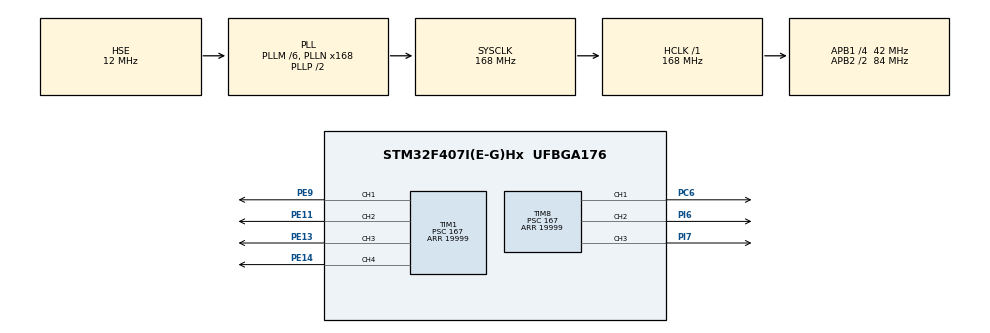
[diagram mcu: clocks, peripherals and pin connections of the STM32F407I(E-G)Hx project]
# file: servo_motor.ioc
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Mcu.Family=STM32F4
Mcu.Name=STM32F407I(E-G)Hx
Mcu.Package=UFBGA176
NVIC.PriorityGroup=NVIC_PRIORITYGROUP_4
PA13.Mode=Serial_Wire
PA13.Signal=SYS_JTMS-SWDIO
PA14.Mode=Serial_Wire
PA14.Signal=SYS_JTCK-SWCLK
PC6.GPIO_PuPd=GPIO_PULLUP
PC6.GPIO_Speed=GPIO_SPEED_FREQ_HIGH
PC6.Signal=S_TIM8_CH1
PE11.GPIO_PuPd=GPIO_PULLUP
PE11.GPIO_Speed=GPIO_SPEED_FREQ_HIGH
PE11.Signal=S_TIM1_CH2
PE13.GPIO_PuPd=GPIO_PULLUP
PE13.GPIO_Speed=GPIO_SPEED_FREQ_HIGH
PE13.Signal=S_TIM1_CH3
PE14.GPIO_PuPd=GPIO_PULLUP
PE14.GPIO_Speed=GPIO_SPEED_FREQ_HIGH
PE14.Signal=S_TIM1_CH4
PE9.GPIO_PuPd=GPIO_PULLUP
PE9.GPIO_Speed=GPIO_SPEED_FREQ_HIGH
PE9.Signal=S_TIM1_CH1
PH0-OSC_IN.Mode=HSE-External-Oscillator
PH0-OSC_IN.Signal=RCC_OSC_IN
PH1-OSC_OUT.Mode=HSE-External-Oscillator
PH1-OSC_OUT.Signal=RCC_OSC_OUT
PI6.GPIO_PuPd=GPIO_PULLUP
PI6.GPIO_Speed=GPIO_SPEED_FREQ_HIGH
PI6.Signal=S_TIM8_CH2
PI7.GPIO_PuPd=GPIO_PULLUP
PI7.GPIO_Speed=GPIO_SPEED_FREQ_HIGH
PI7.Signal=S_TIM8_CH3
ProjectManager.HeapSize=0x2000
ProjectManager.StackSize=0x2000
ProjectManager.TargetToolchain=MDK-ARM V5
RCC.48MHZClocksFreq_Value=48000000
RCC.AHBFreq_Value=168000000
RCC.APB1CLKDivider=RCC_HCLK_DIV4
RCC.APB1Freq_Value=42000000
RCC.APB1TimFreq_Value=84000000
RCC.APB2CLKDivider=RCC_HCLK_DIV2
RCC.APB2Freq_Value=84000000
RCC.APB2TimFreq_Value=168000000
RCC.CortexFreq_Value=168000000
RCC.HCLKFreq_Value=168000000
RCC.HSE_VALUE=12000000
RCC.HSI_VALUE=16000000
RCC.LSE_VALUE=32768
RCC.PLLM=6
RCC.PLLN=168
RCC.PLLQ=7
RCC.PLLSourceVirtual=RCC_PLLSOURCE_HSE
RCC.RCC_RTC_Clock_SourceVirtual=RCC_RTCCLKSOURCE_HSE_DIV30
RCC.RCC_RTC_Clock_Source_FROM_HSE=RCC_RTCCLKSOURCE_HSE_DIV30
RCC.SYSCLKFreq_VALUE=168000000
RCC.SYSCLKSource=RCC_SYSCLKSOURCE_PLLCLK
RCC.VCOOutputFreq_Value=336000000
SH.S_TIM1_CH1.0=TIM1_CH1,PWM Generation1 CH1
SH.S_TIM1_CH2.0=TIM1_CH2,PWM Generation2 CH2
SH.S_TIM1_CH3.0=TIM1_CH3,PWM Generation3 CH3
SH.S_TIM1_CH4.0=TIM1_CH4,PWM Generation4 CH4
SH.S_TIM8_CH1.0=TIM8_CH1,PWM Generation1 CH1
SH.S_TIM8_CH2.0=TIM8_CH2,PWM Generation2 CH2
SH.S_TIM8_CH3.0=TIM8_CH3,PWM Generation3 CH3
TIM1.Channel-PWM\ Generation1\ CH1=TIM_CHANNEL_1
TIM1.Channel-PWM\ Generation2\ CH2=TIM_CHANNEL_2
TIM1.Channel-PWM\ Generation3\ CH3=TIM_CHANNEL_3
TIM1.Channel-PWM\ Generation4\ CH4=TIM_CHANNEL_4
TIM1.Period=19999
TIM1.Prescaler=167
TIM1.Pulse-PWM\ Generation1\ CH1=2000
TIM1.Pulse-PWM\ Generation2\ CH2=2000
TIM1.Pulse-PWM\ Generation3\ CH3=2000
TIM1.Pulse-PWM\ Generation4\ CH4=2000
TIM8.Channel-PWM\ Generation1\ CH1=TIM_CHANNEL_1
TIM8.Channel-PWM\ Generation2\ CH2=TIM_CHANNEL_2
TIM8.Channel-PWM\ Generation3\ CH3=TIM_CHANNEL_3
TIM8.Period=19999
TIM8.Prescaler=167
TIM8.Pulse-PWM\ Generation1\ CH1=2000
TIM8.Pulse-PWM\ Generation2\ CH2=2000
TIM8.Pulse-PWM\ Generation3\ CH3=2000
VP_TIM1_VS_ClockSourceINT.Mode=Internal
VP_TIM8_VS_ClockSourceINT.Mode=Internal
board=custom

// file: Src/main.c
/* USER CODE BEGIN Header */
/**
  ******************************************************************************
  * @file           : main.c
  * @brief          : Main program body
  ******************************************************************************
  * @attention
  *
  * <h2><center>&copy; Copyright (c) 2019 STMicroelectronics.
  * All rights reserved.</center></h2>
  *
  * This software component is licensed by ST under BSD 3-Clause license,
  * the "License"; You may not use this file except in compliance with the
  * License. You may obtain a copy of the License at:
  *                        opensource.org/licenses/BSD-3-Clause
  *
  ******************************************************************************
  */
/* USER CODE END Header */

#include "main.h"
#include "tim.h"
#include "gpio.h"

void SystemClock_Config(void);

int main(void)
{

  /* MCU Configuration--------------------------------------------------------*/

  /* Reset of all peripherals, Initializes the Flash interface and the Systick. */
  HAL_Init();

  /* Configure the system clock */
  SystemClock_Config();

  /* Initialize all configured peripherals */
  MX_GPIO_Init();
  MX_TIM8_Init();
  MX_TIM1_Init();
  /* USER CODE BEGIN 2 */
    HAL_TIM_Base_Start(&htim1);
    HAL_TIM_PWM_Start(&htim1, TIM_CHANNEL_1);
    HAL_TIM_PWM_Start(&htim1, TIM_CHANNEL_2);
    HAL_TIM_PWM_Start(&htim1, TIM_CHANNEL_3);
    HAL_TIM_PWM_Start(&htim1, TIM_CHANNEL_1);
    HAL_TIM_Base_Start(&htim8);
    HAL_TIM_PWM_Start(&htim8, TIM_CHANNEL_1);
    HAL_TIM_PWM_Start(&htim8, TIM_CHANNEL_2);
    HAL_TIM_PWM_Start(&htim8, TIM_CHANNEL_3);

  /* USER CODE END 2 */

  /* Infinite loop */
  while (1)
  {

    /* USER CODE BEGIN 3 */
        __HAL_TIM_SetCompare(&htim1, TIM_CHANNEL_1, 500);
        __HAL_TIM_SetCompare(&htim1, TIM_CHANNEL_2, 500);
        __HAL_TIM_SetCompare(&htim1, TIM_CHANNEL_3, 500);
        __HAL_TIM_SetCompare(&htim1, TIM_CHANNEL_4, 500);
        __HAL_TIM_SetCompare(&htim8, TIM_CHANNEL_1, 500);
        __HAL_TIM_SetCompare(&htim8, TIM_CHANNEL_2, 500);
        __HAL_TIM_SetCompare(&htim8, TIM_CHANNEL_3, 500);
        HAL_Delay(1000);
        __HAL_TIM_SetCompare(&htim1, TIM_CHANNEL_1, 2000);
        __HAL_TIM_SetCompare(&htim1, TIM_CHANNEL_2, 2000);
        __HAL_TIM_SetCompare(&htim1, TIM_CHANNEL_3, 2000);
        __HAL_TIM_SetCompare(&htim1, TIM_CHANNEL_4, 2000);
        __HAL_TIM_SetCompare(&htim8, TIM_CHANNEL_1, 2000);
        __HAL_TIM_SetCompare(&htim8, TIM_CHANNEL_2, 2000);
        __HAL_TIM_SetCompare(&htim8, TIM_CHANNEL_3, 2000);
        HAL_Delay(1000);
  }
  /* USER CODE END 3 */
}

void SystemClock_Config(void)
{
  RCC_OscInitTypeDef RCC_OscInitStruct = {0};
  RCC_ClkInitTypeDef RCC_ClkInitStruct = {0};

  /** Configure the main internal regulator output voltage
  */
  __HAL_RCC_PWR_CLK_ENABLE();
  __HAL_PWR_VOLTAGESCALING_CONFIG(PWR_REGULATOR_VOLTAGE_SCALE1);
  /** Initializes the CPU, AHB and APB busses clocks
  */
  RCC_OscInitStruct.OscillatorType = RCC_OSCILLATORTYPE_HSE;
  RCC_OscInitStruct.HSEState = RCC_HSE_ON;
  RCC_OscInitStruct.PLL.PLLState = RCC_PLL_ON;
  RCC_OscInitStruct.PLL.PLLSource = RCC_PLLSOURCE_HSE;
  RCC_OscInitStruct.PLL.PLLM = 6;
  RCC_OscInitStruct.PLL.PLLN = 168;
  RCC_OscInitStruct.PLL.PLLP = RCC_PLLP_DIV2;
  RCC_OscInitStruct.PLL.PLLQ = 7;
  if (HAL_RCC_OscConfig(&RCC_OscInitStruct) != HAL_OK)
  {
    Error_Handler();
  }
  /** Initializes the CPU, AHB and APB busses clocks
  */
  RCC_ClkInitStruct.ClockType = RCC_CLOCKTYPE_HCLK|RCC_CLOCKTYPE_SYSCLK
                              |RCC_CLOCKTYPE_PCLK1|RCC_CLOCKTYPE_PCLK2;
  RCC_ClkInitStruct.SYSCLKSource = RCC_SYSCLKSOURCE_PLLCLK;
  RCC_ClkInitStruct.AHBCLKDivider = RCC_SYSCLK_DIV1;
  RCC_ClkInitStruct.APB1CLKDivider = RCC_HCLK_DIV4;
  RCC_ClkInitStruct.APB2CLKDivider = RCC_HCLK_DIV2;

  if (HAL_RCC_ClockConfig(&RCC_ClkInitStruct, FLASH_LATENCY_5) != HAL_OK)
  {
    Error_Handler();
  }
}

void Error_Handler(void)
{
}

/************************ (C) COPYRIGHT STMicroelectronics *****END OF FILE****/
